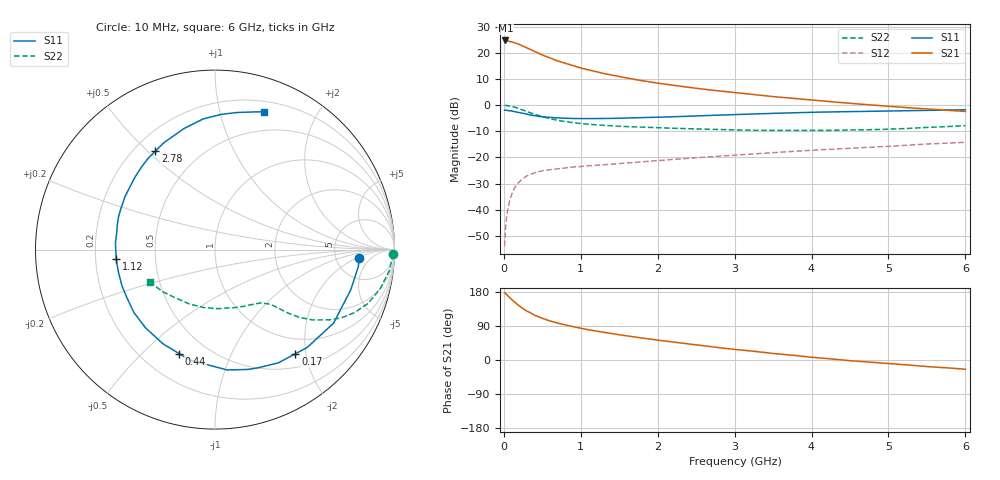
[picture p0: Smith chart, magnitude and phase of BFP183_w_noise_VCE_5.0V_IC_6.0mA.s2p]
! Infineon Technologies  Discrete & RF Semiconductors
! BFP183
! VCE = 5.0 V,  IC =  6.0 mA
! Common Emitter S-Parameters:  Jan 2016
# GHz  S  MA  R  50
!  f  S11  S21  S12  S22
! GHz  MAG  ANG  MAG  ANG  MAG  ANG  MAG  ANG
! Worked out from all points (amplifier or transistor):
!   210 points, 10 MHz to 6 GHz, reference 50 ohm
!   highest |S21| = 24.7 dB at 20 MHz (marker M1)
!   |S21| within 3 dB of that: start of sweep to 313.7 MHz
!   unconditionally stable (mu >= 1): 1.496 GHz to 5.712 GHz
!   at 185 MHz: K = 0.18, MSG = 26.6 dB, |S12| = -29.9 dB
!   at 1.52 GHz: K = 1.01, MAG = 16.0 dB, |S12| = -22.3 dB
!   at 6 GHz: K = 0.95, MSG = 5.9 dB, |S12| = -14.2 dB
!   lowest NFmin = 1.20 dB at 450 MHz
!   S11 on the Smith chart (normalised r, x): 10 MHz: 8.59, -2.24; 170 MHz: 0.72, -1.81; 440 MHz: 0.35, -0.65; 1.12 GHz: 0.29, -0.04; 2.78 GHz: 0.28, +0.53; 6 GHz: 0.30, +1.37
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0.01  0.8035 -3.3  17.11 178.0  0.002 82.1  0.9912 -1.4
0.02  0.8046 -6.6  17.27 176.2  0.0041 88.0  0.988 -2.8
0.05  0.7888 -16.5  16.91 169.7  0.0099 84.2  0.9781 -6.9
0.1  0.7775 -31.8  16.23 160.0  0.0192 74.2  0.9458 -13.4
0.15  0.7488 -46.8  15.44 150.7  0.0276 66.5  0.9044 -19.3
0.17  0.7332 -52.3  15.03 147.5  0.0302 63.9  0.8839 -21.2
0.2  0.7229 -60.8  14.51 142.5  0.0341 60.8  0.8549 -24.1
0.24  0.7001 -70.5  13.63 136.7  0.0385 56.7  0.8137 -27.3
0.3  0.6741 -84.2  12.5 129.0  0.0443 52.0  0.7509 -31.4
0.4  0.6314 -102.8  10.63 118.1  0.0508 45.2  0.6679 -35.9
0.44  0.6131 -109.0  9.994 115.1  0.0525 43.2  0.6411 -37.0
0.56  0.5863 -126.3  8.424 105.9  0.057 39.0  0.5706 -39.8
0.7  0.5719 -142.1  6.999 97.3  0.0605 36.3  0.5113 -41.8
1.02  0.5519 -167.8  5.048 83.0  0.0672 33.5  0.4413 -44.4
1.12  0.5523 -174.4  4.646 79.1  0.0693 33.5  0.4279 -45.3
1.5  0.5615 165.9  3.521 66.6  0.0762 33.7  0.3932 -49.0
2.02  0.5871 144.7  2.608 51.9  0.0872 34.3  0.3689 -56.1
2.78  0.6424 121.1  1.879 32.9  0.105 33.8  0.3427 -70.5
3.1  0.6654 113.2  1.674 26.0  0.1129 33.2  0.3329 -77.6
4.1  0.7344 93.6  1.217 5.7  0.1392 29.1  0.3284 -103.8
5.1  0.7766 79.8  0.924 -10.8  0.1656 24.7  0.3503 -131.0
6  0.815 70.4  0.757 -24.3  0.1941 17.7  0.4048 -153.2
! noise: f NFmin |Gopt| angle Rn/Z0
0.45  1.2  0.21  41  0.24
0.9  1.25  0.24  101  0.21
1.8  2  0.32  175  0.14
